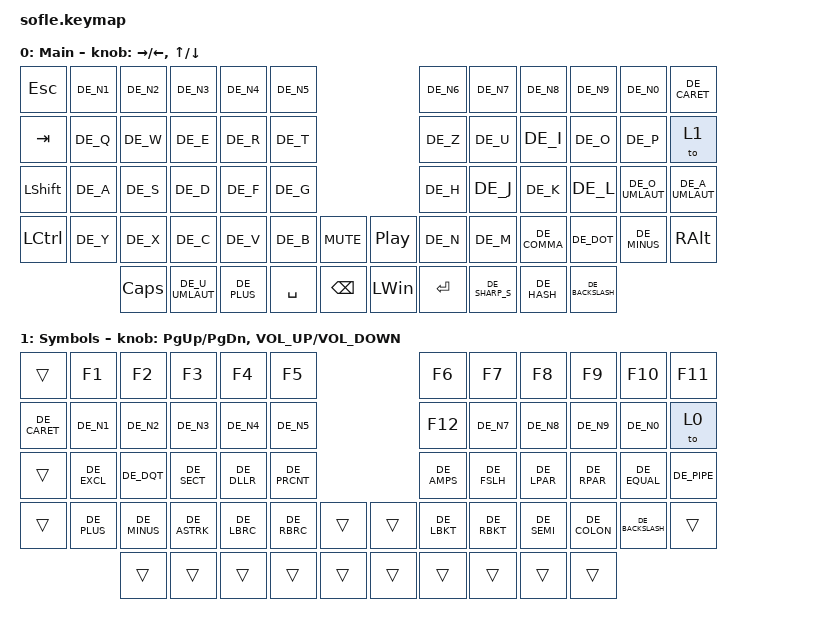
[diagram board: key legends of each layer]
/*
 * Copyright (c) 2020 The ZMK Contributors
 *
 * SPDX-License-Identifier: MIT
 *
 * Deutsches QWERTZ Layout — angepasst für DE-Tastatureinstellung im OS
 * Benötigt: zmk-locales Modul (joelspadin/zmk-locales)
 */

#include <behaviors.dtsi>
#include <dt-bindings/zmk/keys.h>
#include <locale/keys_de.h>

/ {
    keymap {
        compatible = "zmk,keymap";

        Main {
            // -----------------------------------------------------------------------------------------------------------------------
            // |  ESC  |  1  |  2  |  3   |  4   |  5   |                         |  6   |  7    |  8    |  9   |   0   |    ^     |
            // |  TAB  |  Q  |  W  |  E   |  R   |  T   |                         |  Z   |  U    |  I    |  O   |   P   |  LOWER   |
            // | SHIFT |  A  |  S  |  D   |  F   |  G   |                         |  H   |  J    |  K    |  L   |   Ö   |    Ä     |
            // | LCTRL |  Y  |  X  |  C   |  V   |  B   |  MUTE  |        | PLAY  |  N   |  M    |  ,    |  .   |   -   |   ALT    |
            //               | CAPS|  Ü   |  +   | SPACE| BKSPC  |        | GUI   | ENTER|  ß    |  #    |  \   |
            // -----------------------------------------------------------------------------------------------------------------------
            // HINWEIS: OS muss auf Deutsch (QWERTZ) eingestellt sein!
            bindings = <
&kp ESCAPE      &kp DE_N1  &kp DE_N2     &kp DE_N3          &kp DE_N4          &kp DE_N5                                        &kp DE_N6     &kp DE_N7         &kp DE_N8     &kp DE_N9         &kp DE_N0         &kp DE_CARET
&kp TAB         &kp DE_Q   &kp DE_W      &kp DE_E           &kp DE_R           &kp DE_T                                         &kp DE_Z      &kp DE_U          &kp DE_I      &kp DE_O          &kp DE_P          &to 1
&kp LEFT_SHIFT  &kp DE_A   &kp DE_S      &kp DE_D           &kp DE_F           &kp DE_G                                         &kp DE_H      &kp DE_J          &kp DE_K      &kp DE_L          &kp DE_O_UMLAUT   &kp DE_A_UMLAUT
&kp LCTRL       &kp DE_Y   &kp DE_X      &kp DE_C           &kp DE_V           &kp DE_B      &kp C_MUTE       &kp C_PLAY_PAUSE  &kp DE_N      &kp DE_M          &kp DE_COMMA  &kp DE_DOT        &kp DE_MINUS      &kp RIGHT_ALT
                            &kp CAPSLOCK  &kp DE_U_UMLAUT    &kp DE_PLUS        &kp SPACE     &kp BACKSPACE    &kp LEFT_WIN      &kp ENTER     &kp DE_SHARP_S    &kp DE_HASH   &kp DE_BACKSLASH
            >;
            sensor-bindings =
                <&inc_dec_kp RIGHT LEFT>,
                <&inc_dec_kp UP_ARROW DOWN_ARROW>;
        };

        Symbols {
            // -----------------------------------------------------------------------------------------------------------------------
            // |       |  F1 |  F2 |  F3  |  F4  |  F5  |                   |  F6  |  F7   |  F8   |  F9  |  F10  |  F11  |
            // |   ^   |  1  |  2  |  3   |  4   |  5   |                   |  F12 |   7   |   8   |   9  |    0  |  BASE |
            // |       |  !  |  "  |  §   |  $   |  %   |                   |  &   |  /    |  (    |  )   |   =   |   |   |
            // |       |  +  |  -  |  *   |  {   |  }   |        |  |       |  [   |  ]    |  ;    |  :   |   \   |       |
            //               |     |      |      |      |        |  |       |      |       |       |      |
            // -----------------------------------------------------------------------------------------------------------------------
            // HINWEIS: Deutsche Sonderzeichen — kein Shift-Workaround nötig dank DE-Keycodes
            bindings = <
&trans          &kp F1           &kp F2         &kp F3           &kp F4           &kp F5                              &kp F6         &kp F7         &kp F8           &kp F9         &kp F10          &kp F11
&kp DE_CARET    &kp DE_N1        &kp DE_N2      &kp DE_N3        &kp DE_N4        &kp DE_N5                           &kp F12        &kp DE_N7      &kp DE_N8        &kp DE_N9      &kp DE_N0        &to 0
&trans          &kp DE_EXCL      &kp DE_DQT     &kp DE_SECT      &kp DE_DLLR      &kp DE_PRCNT                        &kp DE_AMPS    &kp DE_FSLH    &kp DE_LPAR      &kp DE_RPAR    &kp DE_EQUAL     &kp DE_PIPE
&trans          &kp DE_PLUS      &kp DE_MINUS   &kp DE_ASTRK     &kp DE_LBRC      &kp DE_RBRC   &trans    &trans      &kp DE_LBKT    &kp DE_RBKT    &kp DE_SEMI      &kp DE_COLON   &kp DE_BACKSLASH &trans
                                 &trans         &trans           &trans           &trans        &trans    &trans      &trans         &trans         &trans           &trans
            >;
            sensor-bindings =
                <&inc_dec_kp PG_UP PG_DN>,
                <&inc_dec_kp C_VOLUME_UP C_VOLUME_DOWN>;
        };
    };
};
